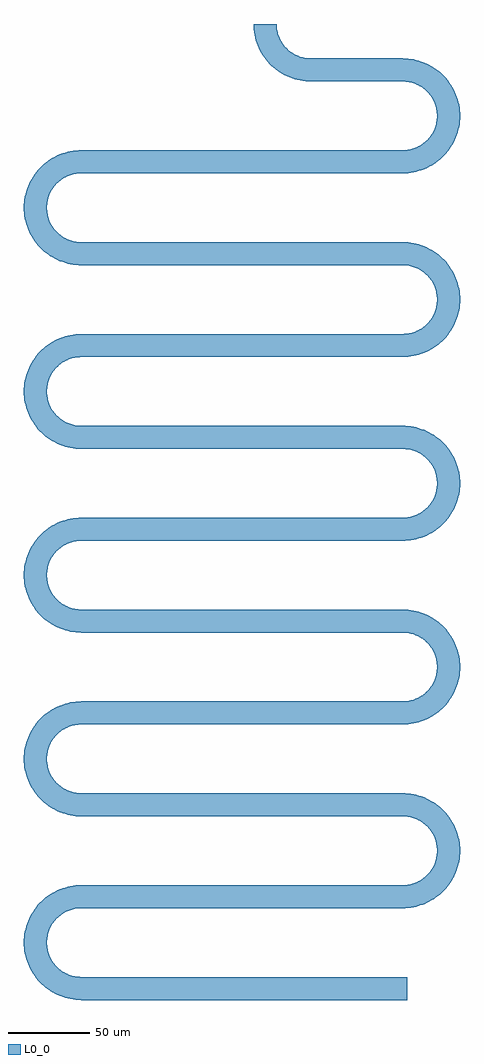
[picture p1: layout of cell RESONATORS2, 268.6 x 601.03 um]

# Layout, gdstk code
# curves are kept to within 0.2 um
import gdstk
lib = gdstk.Library(unit=1e-6, precision=1e-09)
def P(c, l, *ps):  # polygons
    for p in ps: c.add(gdstk.Polygon(p, *l))
L0_0 = (0, 0)

resonators2 = lib.new_cell('RESONATORS2')
P(resonators2, L0_0, [(1554.459,2572.227),(1353.639,2572.227),(1350.62,2572.443),(1345.755,2573.747),(1341.334,2576.161),(1337.607,2579.549),(1334.784,2583.72),(1333.285,2587.464),(1332.45,2592.431),(1332.809,2597.455),(1334.343,2602.253),(1335.793,2604.909),(1337.607,2607.332),(1339.747,2609.472),(1342.17,2611.286),(1346.701,2613.487),(1349.624,2614.27),(1352.63,2614.629),(1551.53,2614.653),(1556.561,2615.013),(1561.49,2616.085),(1564.67,2617.186),(1569.207,2619.39),(1572.038,2621.209),(1574.682,2623.289),(1578.249,2626.856),(1580.329,2629.5),(1582.695,2633.334),(1564.643,2633.334),(1561.25,2631.153),(1558.468,2629.962),(1554.549,2629.011),(1551.53,2628.795),(1353.639,2628.795),(1348.607,2628.435),(1342.076,2626.851),(1337.438,2624.865),(1333.131,2622.24),(1328.051,2617.838),(1323.896,2612.555),(1321.479,2608.127),(1319.716,2603.401),(1318.444,2596.801),(1318.444,2590.08),(1319.716,2583.48),(1322.214,2577.24),(1325.848,2571.585),(1328.051,2569.043),(1331.784,2565.649),(1337.438,2562.016),(1343.678,2559.517),(1350.278,2558.245),(1554.459,2558.085)],
  [(1582.954,2633.808),(1585.453,2640.048),(1586.246,2643.317),(1586.845,2648.326),(1586.725,2653.369),(1586.246,2656.699),(1585.453,2659.969),(1583.69,2664.695),(1582.148,2667.686),(1579.321,2671.863),(1574.682,2676.728),(1569.207,2680.627),(1564.67,2682.831),(1561.49,2683.931),(1556.561,2685.003),(1551.53,2685.363),(1351.623,2685.459),(1346.701,2686.53),(1343.032,2688.205),(1339,2691.224),(1336.359,2694.272),(1334.343,2697.764),(1332.809,2702.562),(1332.45,2707.586),(1333.032,2711.608),(1318.644,2711.608),(1318.324,2704.894),(1318.923,2699.885),(1320.817,2693.436),(1323.896,2687.462),(1326.919,2683.424),(1331.784,2678.785),(1337.438,2675.152),(1343.678,2672.653),(1348.607,2671.581),(1353.639,2671.221),(1551.53,2671.221),(1554.549,2671.005),(1558.468,2670.055),(1561.25,2668.863),(1563.834,2667.288),(1566.168,2665.361),(1568.204,2663.121),(1569.901,2660.615),(1571.223,2657.892),(1572.145,2655.009),(1572.647,2652.025),(1572.719,2648.999),(1572.359,2645.994),(1571.576,2643.07),(1570.385,2640.288),(1568.809,2637.704),(1566.882,2635.37),(1564.643,2633.334),(1582.695,2633.334)],
  [(1333.285,2712.553),(1334.343,2715.389),(1335.793,2718.045),(1337.607,2720.468),(1339.747,2722.608),(1342.17,2724.422),(1345.755,2726.27),(1348.638,2727.191),(1351.623,2727.693),(1551.53,2727.789),(1554.89,2727.949),(1559.865,2728.786),(1566.217,2730.984),(1569.207,2732.526),(1573.385,2735.353),(1578.249,2739.992),(1582.148,2745.467),(1584.94,2751.581),(1586.525,2758.113),(1586.845,2764.827),(1585.888,2771.48),(1583.69,2777.831),(1582.148,2780.822),(1579.801,2784.357),(1551.53,2784.357),(1555.544,2783.974),(1559.414,2782.838),(1562.998,2780.99),(1566.168,2778.497),(1568.809,2775.449),(1570.385,2772.865),(1571.883,2769.121),(1572.647,2765.161),(1572.647,2761.128),(1571.883,2757.168),(1570.385,2753.424),(1568.204,2750.031),(1565.421,2747.113),(1562.136,2744.773),(1558.468,2743.098),(1554.549,2742.147),(1551.53,2741.931),(1353.639,2741.931),(1350.278,2741.771),(1345.304,2740.935),(1340.499,2739.399),(1337.438,2738.001),(1333.131,2735.376),(1330.486,2733.296),(1326.919,2729.729),(1324.84,2727.084),(1322.214,2722.777),(1320.817,2719.716),(1319.716,2716.537),(1318.644,2711.608),(1333.032,2711.608)],
  [(1579.321,2784.999),(1577.117,2787.542),(1573.385,2790.935),(1567.73,2794.569),(1563.834,2796.279),(1559.865,2797.503),(1553.212,2798.459),(1353.639,2798.499),(1350.62,2798.715),(1346.701,2799.666),(1343.032,2801.341),(1339.747,2803.681),(1337.607,2805.821),(1335.268,2809.106),(1333.593,2812.774),(1332.809,2815.698),(1332.426,2819.712),(1332.809,2823.727),(1333.593,2826.65),(1335.268,2830.319),(1337.607,2833.604),(1339.747,2835.744),(1343.032,2838.083),(1346.701,2839.759),(1350.62,2840.709),(1353.639,2840.925),(1553.212,2840.965),(1558.221,2841.564),(1561.49,2842.357),(1567.73,2844.856),(1572.038,2847.481),(1574.682,2849.561),(1577.117,2851.883),(1579.819,2855.091),(1350.278,2854.907),(1345.304,2854.071),(1338.952,2851.872),(1333.131,2848.512),(1329.241,2845.3),(1325.848,2841.567),(1322.214,2835.913),(1320.228,2831.276),(1318.644,2824.744),(1318.324,2818.03),(1318.923,2813.021),(1319.716,2809.752),(1322.214,2803.512),(1325.848,2797.857),(1330.486,2792.993),(1335.962,2789.094),(1342.076,2786.302),(1348.607,2784.717),(1353.639,2784.357),(1579.801,2784.357)],
  [(1580.329,2855.772),(1582.148,2858.603),(1584.352,2863.14),(1585.453,2866.32),(1586.525,2871.249),(1586.845,2874.598),(1586.725,2879.641),(1586.246,2882.971),(1584.94,2887.844),(1583.69,2890.967),(1581.272,2895.395),(1579.321,2898.135),(1575.927,2901.868),(1572.038,2905.08),(1569.207,2906.899),(1564.67,2909.103),(1561.49,2910.203),(1556.561,2911.275),(1551.53,2911.635),(1351.623,2911.731),(1347.663,2912.495),(1343.919,2913.993),(1341.334,2915.569),(1338.286,2918.21),(1335.793,2921.38),(1334.343,2924.036),(1333.024,2927.847),(1332.498,2931.166),(1318.324,2931.166),(1318.923,2926.157),(1320.817,2919.708),(1323.896,2913.734),(1326.919,2909.696),(1331.784,2905.057),(1337.438,2901.424),(1343.678,2898.925),(1348.607,2897.853),(1353.639,2897.493),(1551.53,2897.493),(1554.549,2897.277),(1557.506,2896.634),(1561.25,2895.135),(1564.643,2892.955),(1567.561,2890.172),(1569.375,2887.749),(1570.826,2885.093),(1572.145,2881.281),(1572.647,2878.297),(1572.647,2874.264),(1571.883,2870.304),(1570.385,2866.56),(1568.204,2863.167),(1566.168,2860.928),(1562.998,2858.435),(1560.342,2856.984),(1556.531,2855.665),(1552.539,2855.091),(1579.819,2855.091)],
  [(1332.45,2931.839),(1332.642,2935.867),(1333.593,2939.786),(1335.268,2943.455),(1337.607,2946.74),(1340.526,2949.523),(1343.919,2951.703),(1347.663,2953.202),(1351.623,2953.965),(1551.53,2954.061),(1554.89,2954.221),(1559.865,2955.058),(1566.217,2957.256),(1569.207,2958.798),(1573.385,2961.625),(1578.249,2966.264),(1582.148,2971.739),(1584.94,2977.853),(1586.525,2984.385),(1586.845,2991.099),(1585.888,2997.752),(1583.69,3004.103),(1579.963,3010.413),(1554.549,3010.413),(1558.468,3009.463),(1561.25,3008.271),(1564.643,3006.091),(1567.561,3003.308),(1569.901,3000.023),(1571.576,2996.354),(1572.527,2992.435),(1572.743,2989.416),(1572.527,2986.397),(1571.576,2982.478),(1569.901,2978.81),(1567.561,2975.525),(1564.643,2972.742),(1561.25,2970.561),(1558.468,2969.37),(1554.549,2968.419),(1551.53,2968.203),(1353.639,2968.203),(1350.278,2968.043),(1345.304,2967.207),(1340.499,2965.671),(1337.438,2964.273),(1333.131,2961.648),(1330.486,2959.568),(1326.919,2956.001),(1323.896,2951.963),(1322.214,2949.049),(1320.228,2944.412),(1318.644,2937.88),(1318.324,2931.166),(1332.498,2931.166)],
  [(1579.321,3011.271),(1577.117,3013.814),(1573.385,3017.207),(1567.73,3020.841),(1564.67,3022.239),(1559.865,3023.775),(1553.212,3024.731),(1353.639,3024.771),(1350.62,3024.987),(1346.701,3025.938),(1343.032,3027.613),(1339.747,3029.953),(1337.607,3032.093),(1335.268,3035.378),(1333.593,3039.046),(1332.809,3041.97),(1332.426,3045.984),(1332.809,3049.999),(1333.593,3052.922),(1335.268,3056.591),(1337.607,3059.876),(1339.747,3062.016),(1343.032,3064.355),(1346.701,3066.031),(1350.62,3066.981),(1353.639,3067.197),(1553.212,3067.237),(1558.221,3067.836),(1561.49,3068.629),(1567.73,3071.128),(1572.038,3073.753),(1574.682,3075.833),(1577.117,3078.155),(1579.819,3081.363),(1350.278,3081.179),(1345.304,3080.343),(1338.952,3078.144),(1333.131,3074.784),(1329.241,3071.572),(1325.848,3067.839),(1322.214,3062.185),(1320.228,3057.548),(1318.644,3051.016),(1318.324,3044.302),(1318.923,3039.293),(1319.716,3036.024),(1322.214,3029.784),(1325.848,3024.129),(1330.486,3019.265),(1335.962,3015.366),(1342.076,3012.574),(1348.607,3010.989),(1353.639,3010.629),(1579.963,3010.413)],
  [(1580.329,3082.044),(1583.69,3087.865),(1585.453,3092.592),(1586.246,3095.861),(1586.885,3102.552),(1586.246,3109.243),(1584.352,3115.692),(1581.272,3121.667),(1577.117,3126.95),(1573.385,3130.343),(1570.644,3132.295),(1566.217,3134.712),(1563.093,3135.963),(1559.865,3136.911),(1554.89,3137.747),(1495.073,3137.907),(1490.072,3138.505),(1486.261,3139.824),(1483.604,3141.275),(1481.181,3143.089),(1478.398,3146.007),(1476.218,3149.4),(1475.027,3152.182),(1474.243,3155.106),(1473.86,3159.12),(1459.718,3159.12),(1460.078,3154.089),(1461.15,3149.16),(1462.913,3144.433),(1465.33,3140.006),(1468.353,3135.968),(1473.218,3131.329),(1477.395,3128.502),(1481.933,3126.298),(1488.382,3124.404),(1493.391,3123.805),(1553.546,3123.669),(1558.468,3122.599),(1562.998,3120.398),(1565.421,3118.584),(1567.561,3116.444),(1569.901,3113.159),(1571.223,3110.436),(1572.145,3107.553),(1572.647,3104.569),(1572.647,3100.536),(1572.145,3097.551),(1570.826,3093.74),(1569.375,3091.084),(1567.561,3088.661),(1564.643,3085.878),(1561.25,3083.697),(1558.468,3082.506),(1555.544,3081.723),(1552.539,3081.363),(1579.819,3081.363)])

lib.write_gds('RESONATORS2.gds')
